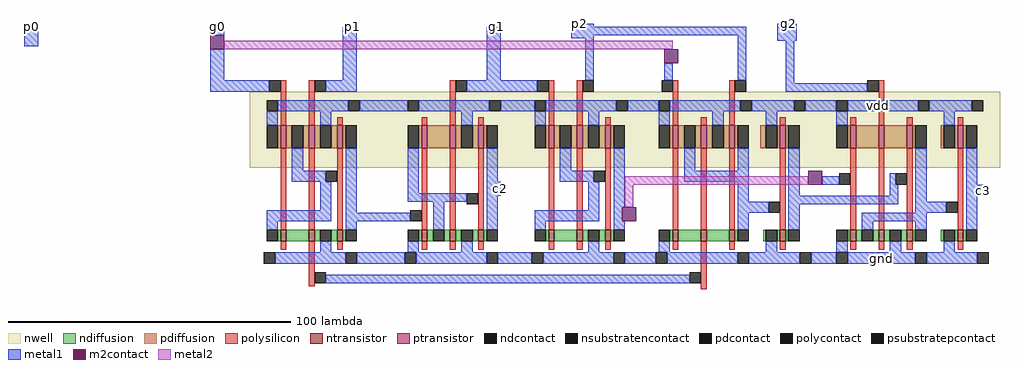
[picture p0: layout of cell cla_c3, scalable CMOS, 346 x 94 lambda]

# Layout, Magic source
magic
tech scmos
<< nwell >>
rect 32 -3 298 24
<< ntransistor >>
rect 43 -29 45 -25
rect 53 -29 55 -25
rect 63 -29 65 -25
rect 93 -29 95 -25
rect 103 -29 105 -25
rect 113 -29 115 -25
rect 138 -29 140 -25
rect 148 -29 150 -25
rect 158 -29 160 -25
rect 182 -29 184 -25
rect 192 -29 194 -25
rect 202 -29 204 -25
rect 220 -29 222 -25
rect 245 -29 247 -25
rect 255 -29 257 -25
rect 265 -29 267 -25
rect 283 -29 285 -25
<< ptransistor >>
rect 43 4 45 12
rect 53 4 55 12
rect 63 4 65 12
rect 93 4 95 12
rect 103 4 105 12
rect 113 4 115 12
rect 138 4 140 12
rect 148 4 150 12
rect 158 4 160 12
rect 182 4 184 12
rect 192 4 194 12
rect 202 4 204 12
rect 220 4 222 12
rect 245 4 247 12
rect 255 4 257 12
rect 265 4 267 12
rect 283 4 285 12
<< ndiffusion >>
rect 42 -29 43 -25
rect 45 -29 53 -25
rect 55 -29 57 -25
rect 61 -29 63 -25
rect 65 -29 66 -25
rect 92 -29 93 -25
rect 95 -29 97 -25
rect 101 -29 103 -25
rect 105 -29 107 -25
rect 111 -29 113 -25
rect 115 -29 116 -25
rect 137 -29 138 -25
rect 140 -29 148 -25
rect 150 -29 152 -25
rect 156 -29 158 -25
rect 160 -29 161 -25
rect 181 -29 182 -25
rect 184 -29 192 -25
rect 194 -29 202 -25
rect 204 -29 205 -25
rect 214 -29 215 -25
rect 219 -29 220 -25
rect 222 -29 223 -25
rect 244 -29 245 -25
rect 247 -29 249 -25
rect 253 -29 255 -25
rect 257 -29 259 -25
rect 263 -29 265 -25
rect 267 -29 268 -25
rect 277 -29 278 -25
rect 282 -29 283 -25
rect 285 -29 286 -25
<< pdiffusion >>
rect 42 4 43 12
rect 45 4 47 12
rect 51 4 53 12
rect 55 4 57 12
rect 61 4 63 12
rect 65 4 66 12
rect 92 4 93 12
rect 95 4 103 12
rect 105 4 107 12
rect 111 4 113 12
rect 115 4 116 12
rect 137 4 138 12
rect 140 4 142 12
rect 146 4 148 12
rect 150 4 152 12
rect 156 4 158 12
rect 160 4 161 12
rect 181 4 182 12
rect 184 4 186 12
rect 190 4 192 12
rect 194 4 196 12
rect 200 4 202 12
rect 204 4 205 12
rect 213 4 215 12
rect 219 4 220 12
rect 222 4 223 12
rect 244 4 245 12
rect 247 4 255 12
rect 257 4 265 12
rect 267 4 268 12
rect 277 4 278 12
rect 282 4 283 12
rect 285 4 286 12
<< ndcontact >>
rect 38 -29 42 -25
rect 57 -29 61 -25
rect 66 -29 70 -25
rect 88 -29 92 -25
rect 97 -29 101 -25
rect 107 -29 111 -25
rect 116 -29 120 -25
rect 133 -29 137 -25
rect 152 -29 156 -25
rect 161 -29 165 -25
rect 177 -29 181 -25
rect 205 -29 209 -25
rect 215 -29 219 -25
rect 223 -29 227 -25
rect 240 -29 244 -25
rect 249 -29 253 -25
rect 259 -29 263 -25
rect 268 -29 272 -25
rect 278 -29 282 -25
rect 286 -29 290 -25
<< pdcontact >>
rect 38 4 42 12
rect 47 4 51 12
rect 57 4 61 12
rect 66 4 70 12
rect 88 4 92 12
rect 107 4 111 12
rect 116 4 120 12
rect 133 4 137 12
rect 142 4 146 12
rect 152 4 156 12
rect 161 4 165 12
rect 177 4 181 12
rect 186 4 190 12
rect 196 4 200 12
rect 205 4 209 12
rect 215 4 219 12
rect 223 4 227 12
rect 240 4 244 12
rect 268 4 272 12
rect 278 4 282 12
rect 286 4 290 12
<< psubstratepcontact >>
rect 37 -37 41 -33
rect 66 -37 70 -33
rect 87 -37 91 -33
rect 116 -37 120 -33
rect 132 -37 136 -33
rect 161 -37 165 -33
rect 176 -37 180 -33
rect 205 -37 209 -33
rect 227 -37 231 -33
rect 240 -37 244 -33
rect 268 -37 272 -33
rect 290 -37 294 -33
<< nsubstratencontact >>
rect 38 17 42 21
rect 67 17 71 21
rect 88 17 92 21
rect 117 17 121 21
rect 133 17 137 21
rect 162 17 166 21
rect 177 17 181 21
rect 206 17 210 21
rect 225 17 229 21
rect 240 17 244 21
rect 269 17 273 21
rect 288 17 292 21
<< polysilicon >>
rect 43 12 45 28
rect 53 12 55 28
rect 63 12 65 15
rect 93 12 95 15
rect 103 12 105 28
rect 113 12 115 15
rect 138 12 140 28
rect 148 12 150 28
rect 158 12 160 15
rect 182 12 184 28
rect 192 12 194 15
rect 202 12 204 28
rect 220 12 222 15
rect 245 12 247 15
rect 255 12 257 28
rect 265 12 267 15
rect 283 12 285 15
rect 43 -25 45 4
rect 53 -25 55 4
rect 63 -25 65 4
rect 93 -25 95 4
rect 103 -25 105 4
rect 113 -25 115 4
rect 138 -25 140 4
rect 148 -25 150 4
rect 158 -25 160 4
rect 182 -25 184 4
rect 192 -25 194 4
rect 202 -25 204 4
rect 220 -25 222 4
rect 245 -25 247 4
rect 255 -25 257 4
rect 265 -25 267 4
rect 283 -25 285 4
rect 43 -32 45 -29
rect 53 -45 55 -29
rect 63 -32 65 -29
rect 93 -32 95 -29
rect 103 -32 105 -29
rect 113 -32 115 -29
rect 138 -32 140 -29
rect 148 -32 150 -29
rect 158 -32 160 -29
rect 182 -32 184 -29
rect 192 -46 194 -29
rect 202 -32 204 -29
rect 220 -32 222 -29
rect 245 -32 247 -29
rect 255 -32 257 -29
rect 265 -32 267 -29
rect 283 -32 285 -29
<< polycontact >>
rect 39 24 43 28
rect 55 24 59 28
rect 105 24 109 28
rect 134 24 138 28
rect 150 24 154 28
rect 178 24 182 28
rect 204 24 208 28
rect 251 24 255 28
rect 59 -8 63 -4
rect 89 -22 93 -18
rect 109 -16 113 -12
rect 154 -8 158 -4
rect 216 -19 220 -15
rect 241 -9 245 -5
rect 261 -9 265 -5
rect 279 -19 283 -15
rect 55 -44 59 -40
rect 188 -44 192 -40
<< metal1 >>
rect 146 47 154 48
rect -48 40 -43 47
rect 18 44 23 47
rect 18 28 23 39
rect 65 28 70 47
rect 116 28 121 47
rect 146 44 208 47
rect 146 43 154 44
rect 151 28 154 43
rect 179 28 182 34
rect 205 28 208 44
rect 219 42 226 48
rect 18 24 39 28
rect 59 24 70 28
rect 109 24 134 28
rect 222 27 225 42
rect 222 24 251 27
rect 42 17 67 21
rect 71 17 88 21
rect 92 17 117 21
rect 121 17 133 21
rect 137 17 162 21
rect 166 17 177 21
rect 181 17 206 21
rect 210 17 225 21
rect 229 17 240 21
rect 244 17 269 21
rect 273 17 288 21
rect 38 12 42 17
rect 57 12 61 17
rect 107 12 111 17
rect 133 12 137 17
rect 152 12 156 17
rect 177 12 181 17
rect 196 12 200 17
rect 215 12 219 17
rect 240 12 244 17
rect 278 12 282 17
rect 47 -4 51 4
rect 47 -8 59 -4
rect 57 -18 61 -8
rect 38 -22 61 -18
rect 66 -19 70 4
rect 88 -12 92 4
rect 116 -8 120 4
rect 142 -4 146 4
rect 142 -8 154 -4
rect 88 -15 109 -12
rect 66 -22 89 -19
rect 38 -25 42 -22
rect 66 -25 70 -22
rect 97 -25 101 -15
rect 116 -13 121 -8
rect 116 -25 120 -13
rect 152 -18 156 -8
rect 133 -22 156 -18
rect 161 -17 165 4
rect 186 -4 190 4
rect 205 -4 209 4
rect 186 -8 209 -4
rect 205 -15 209 -8
rect 223 -13 227 4
rect 235 -9 241 -6
rect 259 -9 261 -5
rect 259 -13 262 -9
rect 161 -22 164 -17
rect 205 -19 216 -15
rect 223 -16 262 -13
rect 268 -15 272 4
rect 286 -9 290 4
rect 286 -13 292 -9
rect 133 -25 137 -22
rect 161 -25 165 -22
rect 205 -25 209 -19
rect 223 -25 227 -16
rect 268 -19 279 -15
rect 249 -22 272 -19
rect 249 -25 253 -22
rect 268 -25 272 -22
rect 286 -25 290 -13
rect 57 -33 61 -29
rect 88 -33 92 -29
rect 107 -33 111 -29
rect 152 -33 156 -29
rect 177 -33 181 -29
rect 215 -33 219 -29
rect 240 -33 244 -29
rect 259 -33 263 -29
rect 278 -33 282 -29
rect 41 -37 66 -33
rect 70 -37 87 -33
rect 91 -37 116 -33
rect 120 -37 132 -33
rect 136 -37 161 -33
rect 165 -37 176 -33
rect 180 -37 205 -33
rect 209 -37 227 -33
rect 231 -37 240 -33
rect 244 -37 268 -33
rect 272 -37 290 -33
rect 59 -44 188 -41
<< m2contact >>
rect 18 39 23 44
rect 179 34 184 39
rect 230 -9 235 -4
rect 164 -22 169 -17
<< metal2 >>
rect 23 39 182 42
rect 165 -9 230 -6
rect 165 -17 168 -9
<< labels >>
rlabel metal1 -47 47 -44 47 4 p0
rlabel metal1 19 47 22 47 6 g0
rlabel metal1 67 47 70 47 5 p1
rlabel metal1 118 47 121 47 6 g1
rlabel metal1 121 -13 121 -8 1 c2
rlabel metal1 147 48 151 48 6 p2
rlabel metal1 221 48 225 48 6 g2
rlabel metal1 255 19 255 19 5 vdd
rlabel metal1 256 -35 256 -35 1 gnd
rlabel metal1 292 -13 292 -9 1 c3
<< end >>
